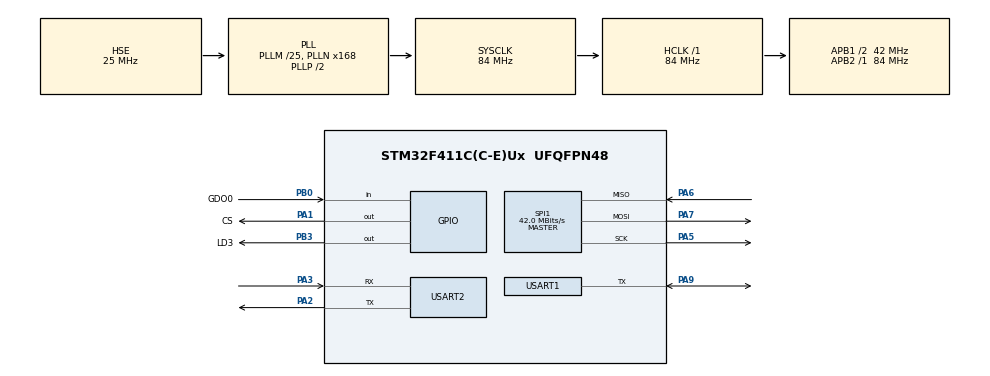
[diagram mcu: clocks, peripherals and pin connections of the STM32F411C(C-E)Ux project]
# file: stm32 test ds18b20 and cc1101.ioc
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Mcu.Family=STM32F4
Mcu.Name=STM32F411C(C-E)Ux
Mcu.Package=UFQFPN48
NVIC.PriorityGroup=NVIC_PRIORITYGROUP_4
NVIC.TIM1_UP_TIM10_IRQn=true\:15\:0\:false\:false\:true\:false\:true\:true
NVIC.TimeBase=TIM1_UP_TIM10_IRQn
NVIC.TimeBaseIP=TIM1
PA1.GPIO_Label=CS
PA1.GPIO_Speed=GPIO_SPEED_FREQ_MEDIUM
PA1.Signal=GPIO_Output
PA13.Mode=Serial_Wire
PA13.Signal=SYS_JTMS-SWDIO
PA14.Mode=Serial_Wire
PA14.Signal=SYS_JTCK-SWCLK
PA2.Mode=Asynchronous
PA2.Signal=USART2_TX
PA3.Mode=Asynchronous
PA3.Signal=USART2_RX
PA5.Mode=Full_Duplex_Master
PA5.Signal=SPI1_SCK
PA6.Mode=Full_Duplex_Master
PA6.Signal=SPI1_MISO
PA7.Mode=Full_Duplex_Master
PA7.Signal=SPI1_MOSI
PA9.Mode=Half_duplex(single_wire_mode)
PA9.Signal=USART1_TX
PB0.GPIO_Label=GDO0
PB0.Signal=GPIO_Input
PB3.GPIO_Label=LD3
PB3.GPIO_Speed=GPIO_SPEED_FREQ_MEDIUM
PB3.Signal=GPIO_Output
PC14-OSC32_IN.Mode=LSE-External-Oscillator
PC14-OSC32_IN.Signal=RCC_OSC32_IN
PC15-OSC32_OUT.Mode=LSE-External-Oscillator
PC15-OSC32_OUT.Signal=RCC_OSC32_OUT
PH0\ -\ OSC_IN.Mode=HSE-External-Oscillator
PH0\ -\ OSC_IN.Signal=RCC_OSC_IN
PH1\ -\ OSC_OUT.Mode=HSE-External-Oscillator
PH1\ -\ OSC_OUT.Signal=RCC_OSC_OUT
ProjectManager.HeapSize=0x200
ProjectManager.StackSize=0x400
ProjectManager.TargetToolchain=STM32CubeIDE
RCC.48MHZClocksFreq_Value=42000000
RCC.AHBFreq_Value=84000000
RCC.APB1CLKDivider=RCC_HCLK_DIV2
RCC.APB1Freq_Value=42000000
RCC.APB1TimFreq_Value=84000000
RCC.APB2Freq_Value=84000000
RCC.APB2TimFreq_Value=84000000
RCC.CortexFreq_Value=84000000
RCC.HCLKFreq_Value=84000000
RCC.HSE_VALUE=25000000
RCC.HSI_VALUE=16000000
RCC.PLLM=25
RCC.PLLN=168
RCC.PLLSourceVirtual=RCC_PLLSOURCE_HSE
RCC.SYSCLKFreq_VALUE=84000000
RCC.SYSCLKSource=RCC_SYSCLKSOURCE_PLLCLK
RCC.VCOOutputFreq_Value=168000000
SPI1.BaudRatePrescaler=SPI_BAUDRATEPRESCALER_2
SPI1.CalculateBaudRate=42.0 MBits/s
SPI1.Direction=SPI_DIRECTION_2LINES
SPI1.Mode=SPI_MODE_MASTER
SPI1.VirtualType=VM_MASTER
USART1.VirtualMode=VM_ASYNC
USART2.VirtualMode=VM_ASYNC
VP_SYS_VS_tim1.Mode=TIM1
board=custom

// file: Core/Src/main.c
/* USER CODE BEGIN Header */
/**
  ******************************************************************************
  * @file           : main.c
  * @brief          : Main program body
  ******************************************************************************
  * @attention
  *
  * Copyright (c) 2024 STMicroelectronics.
  * All rights reserved.
  *
  * This software is licensed under terms that can be found in the LICENSE file
  * in the root directory of this software component.
  * If no LICENSE file comes with this software, it is provided AS-IS.
  *
  ******************************************************************************
  */
/* USER CODE END Header */
#include "main.h"
#include "spi.h"
#include "usart.h"
#include "gpio.h"

/* USER CODE BEGIN Includes */
#include "cc1101.h"
#include "ds18b20.h"
/* USER CODE END Includes */

/* USER CODE BEGIN PTD */
#define state 	1
/* USER CODE END PTD */

/* USER CODE BEGIN PV */
volatile uint8_t GDO0_FLAG;
DS18B20 temperatureSensor;
/* USER CODE END PV */

void SystemClock_Config(void);

/* USER CODE BEGIN 0 */
void UserLEDHide()
{
	 HAL_GPIO_WritePin(LD3_GPIO_Port, LD3_Pin, GPIO_PIN_RESET);
}

void UserLEDShow()
{
	 HAL_GPIO_WritePin(LD3_GPIO_Port, LD3_Pin, GPIO_PIN_SET);
}
/* USER CODE END 0 */

int main(void)
{

  /* MCU Configuration--------------------------------------------------------*/

  /* Reset of all peripherals, Initializes the Flash interface and the Systick. */
  HAL_Init();

  /* Configure the system clock */
  SystemClock_Config();

  /* Initialize all configured peripherals */
  MX_GPIO_Init();
  MX_SPI1_Init();
  MX_USART1_UART_Init();
  MX_USART2_UART_Init();
  /* USER CODE BEGIN 2 */
  int k;

   DS18B20_Init(&temperatureSensor, &huart1);

     DS18B20_InitializationCommand(&temperatureSensor);
     DS18B20_ReadRom(&temperatureSensor);
     DS18B20_ReadScratchpad(&temperatureSensor);

     uint8_t settings[3];
     settings[0] = temperatureSensor.temperatureLimitHigh;
     settings[1] = temperatureSensor.temperatureLimitLow;
     settings[2] = DS18B20_12_BITS_CONFIG;

     DS18B20_InitializationCommand(&temperatureSensor);
     DS18B20_SkipRom(&temperatureSensor);
     DS18B20_WriteScratchpad(&temperatureSensor, settings);
     //
    BYTE status;
    Power_up_reset();
    TI_init(&hspi1, CS_GPIO_Port, CS_Pin);

  #if state
    //for transiver
    BYTE veri = 7;
    uint8_t code1[5]="yi6 ";
    uint8_t code2[5]="on7\n";
    uint8_t board[10] = "stm32f4xx";
    //uint8_t l1[]="yy";
    //int l=0;
    while (1)
    {
    	      //l=l+1;
    	      //sprintf((char *)l1,"%d", l);
    	      DS18B20_InitializationCommand(&temperatureSensor);
    	      DS18B20_SkipRom(&temperatureSensor);
    	      DS18B20_ConvertT(&temperatureSensor, DS18B20_DATA);
    	      DS18B20_InitializationCommand(&temperatureSensor);
    	      DS18B20_SkipRom(&temperatureSensor);
    	      DS18B20_ReadScratchpad(&temperatureSensor);
    	      uint8_t str1[30]="yy";
    	           k=*&temperatureSensor.temperature;//k - temp
    	           //gcvt(k, 6, str1);
    	           sprintf((char *)str1,"%d ", k);//k - temp
    	           //if (l==99)
    	        		   //l=0;
    	              //float x = 123.4567;
    	              //char buf[1];
    	              //gcvt(k, 6, buf);
    	           //strcat(board,code2);
    	           strcat(code1,board);
    	           strcat(str1,code1);
    	           //strcat(str1,board);
    	           //strcat(str1,l1);//счётчик отправленных сообщений
    	           strcat(str1,code2);
    	           HAL_UART_Transmit(&huart2,str1,sizeof(str1),40);
  	  status = TI_read_status(CCxxx0_VERSION); // it is for checking only //sadece kontrol için
  	  //it must be 0x14 //0x14 değeri vermelidir

  	  status = TI_read_status(CCxxx0_TXBYTES); // it is too // bu da kontrol için

  	  TI_strobe(CCxxx0_SFTX); // flush the buffer //bufferi temizler

  	  UserLEDShow(); // turn on the led before send the data // veri göndermeden önce ledi yakar
  	  TI_send_packet(str1, sizeof(str1)); //the function is sending the data

  	  while(HAL_GPIO_ReadPin(GDO0_GPIO_Port, GDO0_Pin));
  	  while(!HAL_GPIO_ReadPin(GDO0_GPIO_Port, GDO0_Pin));
  	  //if the pass to this function, the data was sent. // veri gönderme işlemi tamamlanması için bekletir

  	  status = TI_read_status(CCxxx0_TXBYTES); // it is checking to send the data //veri gönderildiğini kontrol etmek için

  	  UserLEDHide(); // turn off the led // veri gönderildiğinde led söner
  	  HAL_Delay(100);
    }

  #else
    //for receiver/modem

    MX_USART1_UART_Init();
    init_serial(&huart1);

    char buffer[64];
    char mesaj[7];
    char kontrol[7] = {'R', 'F', ' ', 'T', 'e', 's', 't' };
    uint8_t value = 0;
    BYTE length;

    TI_write_reg(CCxxx0_IOCFG0, 0x06);//0x06
    //interrupt setting on GDO0 for data receiving with FIFO
    // GDO0 pininde FIFO ile kullanmak için interrupt ayarı

    /* EXTI interrupt init*/
    __HAL_GPIO_EXTI_CLEAR_IT(GPIO_PIN_0);
    HAL_NVIC_EnableIRQ(EXTI0_IRQn);

    while(1)
    {
  	  uint8_t str[]="yy";
  	  int n=13 ;
  	  sprintf((char *)str,"%d\n", n);
  	  HAL_UART_Transmit(&huart1,str,sizeof(str)+2,15);
  	  BYTE status;
  	  BYTE LQI;

  	  __HAL_GPIO_EXTI_CLEAR_IT(GPIO_PIN_0);

  	  GDO0_FLAG = 0;

  	  TI_strobe(CCxxx0_SFRX);// Flush the buffer //Bufferi temizle
  	  TI_strobe(CCxxx0_SRX); // Set RX Mode //RX moda ayarlar

  	  while(GDO0_FLAG == 0);//(GDO0_FLAG == 0)
  	  //when the data came, it passes this fucntion
  	  //veri geldiğinde bu adımı geçer

  	  status = TI_read_status(CCxxx0_RXBYTES);
  	  //it is for checking
  	  // gelen datanın olup olmadığını denetler

  	  if (!(status & 0x7f)) continue;
  	  // if it get the data, the code can contuniue
  	  // data gelirse, kod devam eder

  	  LQI = TI_read_status(CCxxx0_LQI);
  	  // LQI is quaility of the receiving data
  	  // LQI gelen veri kalitesi

  	  if (LQI & 0x80 /*CRC_OK*/)
  	  {
  		  status = TI_receive_packet(buffer, &length);//read function //okuma fonksiyonu

  		  for(uint8_t i = 0; i <7; i++)//to check for receiving data // gelen datayı kontrol etmek için
  		  {
  			  mesaj[i] = buffer[i];
  			  if(strcmp(mesaj[i], kontrol[i])!=0)
  			  {
  				  value = 1;
  				  break;
  			  }
  		  }

  		  //to send over uart on serial port with 9600baudrate
  		  // Gelen datayı uart üzerinden 9600 baudrate ile seri porta gönderir
  		  HAL_UART_Transmit(&huart1, (uint8_t*)mesaj, sizeof(mesaj), HAL_MAX_DELAY);
  		  HAL_UART_Transmit(&huart1, "\n\r", 2, HAL_MAX_DELAY);

  		  if (value == 0)
  			  // if receiving data is equal to checking data, the led is blink
  			  // eğer gelen data kontrol datasına eşitse, led yanıp söner
  		  {
  			  UserLEDShow();

  			  HAL_Delay(50);

  			  UserLEDHide();
  		  }
  	  }
  	  else
  	  {
  		  status = TI_read_status(CCxxx0_PKTSTATUS); // if it isnt, check pktstatus // değilse, paket durumunu kontrol eder

  		  GDO0_FLAG = 0;
  	  }
    }
  #endif
  /* USER CODE END 2 */

  /* Infinite loop */
  while (1)
  {

  }
}

void SystemClock_Config(void)
{
  RCC_OscInitTypeDef RCC_OscInitStruct = {0};
  RCC_ClkInitTypeDef RCC_ClkInitStruct = {0};

  /** Configure the main internal regulator output voltage
  */
  __HAL_RCC_PWR_CLK_ENABLE();
  __HAL_PWR_VOLTAGESCALING_CONFIG(PWR_REGULATOR_VOLTAGE_SCALE1);

  /** Initializes the RCC Oscillators according to the specified parameters
  * in the RCC_OscInitTypeDef structure.
  */
  RCC_OscInitStruct.OscillatorType = RCC_OSCILLATORTYPE_HSE;
  RCC_OscInitStruct.HSEState = RCC_HSE_ON;
  RCC_OscInitStruct.PLL.PLLState = RCC_PLL_ON;
  RCC_OscInitStruct.PLL.PLLSource = RCC_PLLSOURCE_HSE;
  RCC_OscInitStruct.PLL.PLLM = 25;
  RCC_OscInitStruct.PLL.PLLN = 168;
  RCC_OscInitStruct.PLL.PLLP = RCC_PLLP_DIV2;
  RCC_OscInitStruct.PLL.PLLQ = 4;
  if (HAL_RCC_OscConfig(&RCC_OscInitStruct) != HAL_OK)
  {
    Error_Handler();
  }

  /** Initializes the CPU, AHB and APB buses clocks
  */
  RCC_ClkInitStruct.ClockType = RCC_CLOCKTYPE_HCLK|RCC_CLOCKTYPE_SYSCLK
                              |RCC_CLOCKTYPE_PCLK1|RCC_CLOCKTYPE_PCLK2;
  RCC_ClkInitStruct.SYSCLKSource = RCC_SYSCLKSOURCE_PLLCLK;
  RCC_ClkInitStruct.AHBCLKDivider = RCC_SYSCLK_DIV1;
  RCC_ClkInitStruct.APB1CLKDivider = RCC_HCLK_DIV2;
  RCC_ClkInitStruct.APB2CLKDivider = RCC_HCLK_DIV1;

  if (HAL_RCC_ClockConfig(&RCC_ClkInitStruct, FLASH_LATENCY_2) != HAL_OK)
  {
    Error_Handler();
  }
}

/* USER CODE BEGIN 4 */
#if state == 0
//for receiver/modem
void HAL_GPIO_EXTI_Callback(uint16_t GPIO_Pin)
{
	//if it get the receiving data, the interrupt works
	// eğer gelen data gelirse, kesme çalışır.
	if(GPIO_Pin == GDO0_Pin){
			GDO0_FLAG = 1;
		}
}
#endif
/* USER CODE END 4 */

void HAL_TIM_PeriodElapsedCallback(TIM_HandleTypeDef *htim)
{
  if (htim->Instance == TIM1) {
    HAL_IncTick();
  }
}

void Error_Handler(void)
{
  __disable_irq();
  while (1)
  {
  }
}
